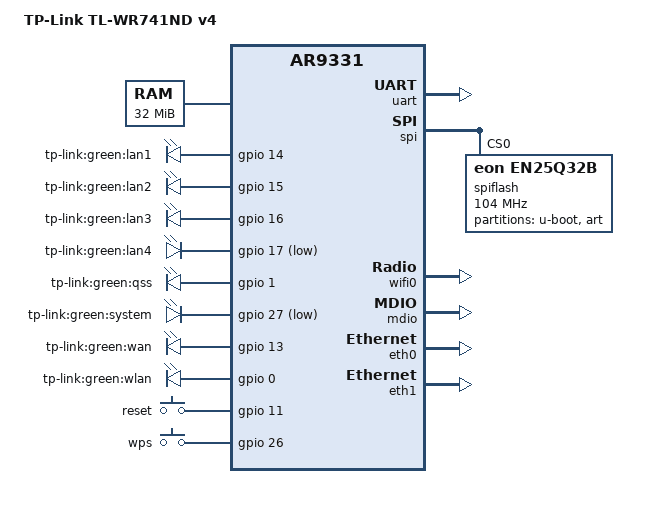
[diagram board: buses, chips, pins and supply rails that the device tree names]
/dts-v1/;

#include <dt-bindings/gpio/gpio.h>
#include <dt-bindings/input/input.h>

#include "ar9331.dtsi"

/ {
	model = "TP-Link TL-WR741ND v4";
	compatible = "tplink,tl-wr740n";

	aliases {
		serial0 = &uart;
	};

	chosen {
		bootargs = "machtype=DTB console=ttyATH0,115200";
	};

	memory@0 {
		device_type = "memory";
		reg = <0x0 0x2000000>;
	};

	leds {
		compatible = "gpio-leds";

		lan1 {
			label = "tp-link:green:lan1";
			gpios = <&gpio 14 GPIO_ACTIVE_HIGH>;
			default-state = "off";
		};

		lan2 {
			label = "tp-link:green:lan2";
			gpios = <&gpio 15 GPIO_ACTIVE_HIGH>;
			default-state = "off";
		};

		lan3 {
			label = "tp-link:green:lan3";
			gpios = <&gpio 16 GPIO_ACTIVE_HIGH>;
			default-state = "off";
		};

		lan4 {
			label = "tp-link:green:lan4";
			gpios = <&gpio 17 GPIO_ACTIVE_LOW>;
			default-state = "off";
		};

		qss {
			label = "tp-link:green:qss";
			gpios = <&gpio 1 GPIO_ACTIVE_HIGH>;
			default-state = "off";
		};

		system {
			label = "tp-link:green:system";
			gpios = <&gpio 27 GPIO_ACTIVE_LOW>;
			default-state = "off";
		};

		wan {
			label = "tp-link:green:wan";
			gpios = <&gpio 13 GPIO_ACTIVE_HIGH>;
			default-state = "off";
		};

		wlan {
			label = "tp-link:green:wlan";
			gpios = <&gpio 0 GPIO_ACTIVE_HIGH>;
			default-state = "off";
		};
	};

	gpio-keys-polled {
		compatible = "gpio-keys-polled";
		#address-cells = <1>;
		#size-cells = <0>;
		poll-interval = <20>;

		button@0 {
			label = "reset";
			linux,code = <KEY_RESTART>;
			gpios = <&gpio 11 GPIO_ACTIVE_HIGH>;
		};

		button@1 {
			label = "wps";
			linux,code = <KEY_WPS_BUTTON>;
			gpios = <&gpio 26 GPIO_ACTIVE_HIGH>;
		};
	};
};

&ref {
	clock-frequency = <25000000>;
};

&uart {
	status = "okay";
};

&gpio {
	status = "okay";
};

&spi {
	num-chipselects = <1>;
	status = "okay";

	/* EON EN25Q32B SPI flash */
	spiflash: en25q32b@0 {
		#address-cells = <1>;
		#size-cells = <1>;
		compatible = "eon,en25q32b", "jedec,spi-nor";
		spi-max-frequency = <104000000>;
		reg = <0>;

		linux,part-probe = "tp-link";

		part_uboot: partition@0 {
			label = "u-boot";
		};

		part_art: partition@3f0000 {
			label = "art";
		};
	};
};

&wifi0 {
	status = "okay";
	mtd-eeprom = <&part_art 0x1000>;
	mtd-mac-address = <&part_uboot 0x1fc00>;
};

&mdio {
	status = "okay";
	phy-mask = <0x00>;
};

&eth0 {
	status = "okay";
	mtd-mac-address = <&part_uboot 0x1fc00>;
	mtd-mac-address-increment = <(-1)>;
};

&eth1 {
	status = "okay";
	mtd-mac-address = <&part_uboot 0x1fc00>;
	mtd-mac-address-increment = <(1)>;
};

